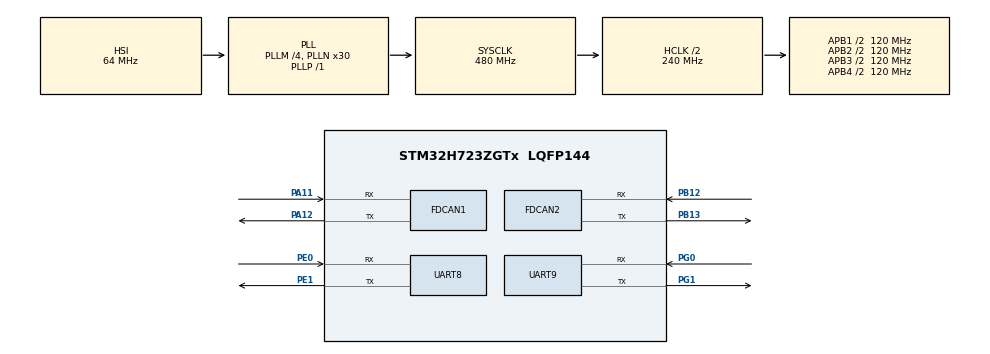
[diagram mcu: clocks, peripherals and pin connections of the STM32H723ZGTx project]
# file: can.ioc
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CORTEX_M7.default_mode_Activation=1
FDCAN1.CalculateBaudRateNominal=1000000
FDCAN1.CalculateTimeBitNominal=1000
FDCAN1.CalculateTimeQuantumNominal=20.833333333333332
FDCAN1.DataPrescaler=2
FDCAN1.DataSyncJumpWidth=15
FDCAN1.DataTimeSeg1=32
FDCAN1.DataTimeSeg2=15
FDCAN1.Mode=FDCAN_MODE_NORMAL
FDCAN1.NominalPrescaler=2
FDCAN1.NominalSyncJumpWidth=15
FDCAN1.NominalTimeSeg1=32
FDCAN1.NominalTimeSeg2=15
FDCAN1.RxFifo0ElmtsNbr=4
FDCAN1.StdFiltersNbr=1
FDCAN2.CalculateBaudRateNominal=1000000
FDCAN2.CalculateTimeBitNominal=1000
FDCAN2.CalculateTimeQuantumNominal=20.833333333333332
FDCAN2.DataPrescaler=2
FDCAN2.DataSyncJumpWidth=15
FDCAN2.DataTimeSeg1=32
FDCAN2.DataTimeSeg2=15
FDCAN2.MessageRAMOffset=1280
FDCAN2.Mode=FDCAN_MODE_NORMAL
FDCAN2.NominalPrescaler=2
FDCAN2.NominalSyncJumpWidth=15
FDCAN2.NominalTimeSeg1=32
FDCAN2.NominalTimeSeg2=15
FDCAN2.RxFifo0ElmtsNbr=4
FDCAN2.StdFiltersNbr=1
FDCAN2.TxFifoQueueElmtsNbr=3
FREERTOS.Queues01=uart_rx,128,uint8_t,0,Dynamic,NULL,NULL
FREERTOS.Tasks01=MOTOR,24,128,DJ_MOTOR,As weak,NULL,Dynamic,NULL,NULL;VOFATx,16,128,VOFA,As weak,NULL,Dynamic,NULL,NULL;VOFARx,8,128,UART,As weak,NULL,Dynamic,NULL,NULL
Mcu.Family=STM32H7
Mcu.Name=STM32H723ZGTx
Mcu.Package=LQFP144
NVIC.FDCAN1_IT0_IRQn=true\:5\:0\:false\:false\:true\:true\:true\:true\:true
NVIC.FDCAN2_IT0_IRQn=true\:5\:0\:false\:false\:true\:true\:true\:true\:true
NVIC.PriorityGroup=NVIC_PRIORITYGROUP_4
NVIC.TIM2_IRQn=true\:5\:0\:false\:false\:true\:true\:true\:true\:true
NVIC.TIM4_IRQn=true\:15\:0\:false\:false\:true\:false\:false\:true\:true
NVIC.TimeBase=TIM4_IRQn
NVIC.TimeBaseIP=TIM4
NVIC.UART8_IRQn=true\:5\:0\:false\:false\:true\:true\:true\:true\:true
PA11.Mode=FDCAN_Activate
PA11.Signal=FDCAN1_RX
PA12.Mode=FDCAN_Activate
PA12.Signal=FDCAN1_TX
PA13(JTMS/SWDIO).Signal=DEBUG_JTMS-SWDIO
PA14(JTCK/SWCLK).Signal=DEBUG_JTCK-SWCLK
PB12.Mode=FDCAN_Activate
PB12.Signal=FDCAN2_RX
PB13.Mode=FDCAN_Activate
PB13.Signal=FDCAN2_TX
PE0.Mode=Asynchronous
PE0.Signal=UART8_RX
PE1.Mode=Asynchronous
PE1.Signal=UART8_TX
PG0.Mode=Asynchronous
PG0.Signal=UART9_RX
PG1.Mode=Asynchronous
PG1.Signal=UART9_TX
PH0-OSC_IN.Mode=HSE-External-Oscillator
PH0-OSC_IN.Signal=RCC_OSC_IN
PH1-OSC_OUT.Mode=HSE-External-Oscillator
PH1-OSC_OUT.Signal=RCC_OSC_OUT
ProjectManager.HeapSize=0x200
ProjectManager.StackSize=0x400
ProjectManager.TargetToolchain=MDK-ARM V5.32
RCC.ADCFreq_Value=96000000
RCC.APB1Freq_Value=120000000
RCC.APB2Freq_Value=120000000
RCC.APB3Freq_Value=120000000
RCC.APB4Freq_Value=120000000
RCC.CortexFreq_Value=480000000
RCC.D1PPRE=RCC_APB3_DIV2
RCC.D2PPRE1=RCC_APB1_DIV2
RCC.D2PPRE2=RCC_APB2_DIV2
RCC.D3PPRE=RCC_APB4_DIV2
RCC.DIVM1=4
RCC.DIVM2=4
RCC.DIVN1=30
RCC.DIVN2=12
RCC.DIVP1=1
RCC.FDCANCLockSelection=RCC_FDCANCLKSOURCE_PLL2
RCC.HCLKFreq_Value=240000000
RCC.HPRE=RCC_HCLK_DIV2
RCC.PLL2FRACN=0
RCC.PLL3FRACN=0
RCC.PLLFRACN=0
RCC.SYSCLKFreq_VALUE=480000000
RCC.SYSCLKSource=RCC_SYSCLKSOURCE_PLLCLK
RCC.USBFreq_Value=240000000
TIM2.Period=999
TIM2.Prescaler=95
VP_FREERTOS_VS_CMSIS_V2.Mode=CMSIS_V2
VP_MEMORYMAP_VS_MEMORYMAP.Mode=CurAppReg
VP_SYS_VS_tim4.Mode=TIM4
VP_TIM2_VS_ClockSourceINT.Mode=Internal
board=custom

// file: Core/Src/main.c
/* USER CODE BEGIN Header */
/**
  ******************************************************************************
  * @file           : main.c
  * @brief          : Main program body
  ******************************************************************************
  * @attention
  *
  * Copyright (c) 2026 STMicroelectronics.
  * All rights reserved.
  *
  * This software is licensed under terms that can be found in the LICENSE file
  * in the root directory of this software component.
  * If no LICENSE file comes with this software, it is provided AS-IS.
  *
  ******************************************************************************
  */
/* USER CODE END Header */
#include "main.h"
#include "FreeRTOS.h"
#include "cmsis_os2.h"
#include "fdcan.h"
#include "tim.h"
#include "usart.h"
#include "gpio.h"

/* USER CODE BEGIN Includes */
#include <stdio.h>
#include "fdcan_bsp.h"
#include "c610.h"
/* USER CODE END Includes */

/* USER CODE BEGIN PV */

//FDCAN_TxHeaderTypeDef txHeader = {
//    .Identifier = 0x333,
//    .IdType = FDCAN_STANDARD_ID,
//    .TxFrameType = FDCAN_DATA_FRAME,
//    .DataLength = FDCAN_DLC_BYTES_4,
//    .ErrorStateIndicator = FDCAN_ESI_ACTIVE,
//    .BitRateSwitch = FDCAN_BRS_OFF,
//    .FDFormat = FDCAN_CLASSIC_CAN,
//    .TxEventFifoControl = FDCAN_NO_TX_EVENTS,
//    .MessageMarker = 0
//};
//uint8_t txData[4] = {0x00, 0x11, 0x22, 0x33};
//uint8_t rxData[8];
//FDCAN_RxHeaderTypeDef rxHeader;
//volatile uint8_t rxFlag = 0;   // 收到数据的标志位

uint8_t rx_byte;
  extern osMessageQueueId_t uart_rxHandle;

/* USER CODE END PV */

void SystemClock_Config(void);
void PeriphCommonClock_Config(void);
static void MPU_Config(void);
void MX_FREERTOS_Init(void);
/* USER CODE BEGIN PFP */
uint8_t rx_byte;
  extern osMessageQueueId_t uart_rxHandle;
/* USER CODE END PFP */

int main(void)
{

  /* MPU Configuration--------------------------------------------------------*/
  MPU_Config();

  /* MCU Configuration--------------------------------------------------------*/

  /* Reset of all peripherals, Initializes the Flash interface and the Systick. */
  HAL_Init();

  /* Configure the system clock */
  SystemClock_Config();

  /* Configure the peripherals common clocks */
  PeriphCommonClock_Config();

  /* Initialize all configured peripherals */
  MX_GPIO_Init();
  MX_FDCAN1_Init();
  MX_FDCAN2_Init();
  MX_UART9_Init();
  MX_UART8_Init();
  MX_TIM2_Init();
  /* USER CODE BEGIN 2 */
  if (M2006_Init() != HAL_OK) {
    printf("CAN init fail\r\n");
    Error_Handler();
  }
//  uint32_t print_cnt = 0;

  HAL_UART_Receive_IT(&huart8,&rx_byte,1);

  /* USER CODE END 2 */

  /* Init scheduler */
  osKernelInitialize();  /* Call init function for freertos objects (in cmsis_os2.c) */
  MX_FREERTOS_Init();

  /* Start scheduler */
  osKernelStart();

  /* We should never get here as control is now taken by the scheduler */

  /* Infinite loop */
  while (1)
  {

  }
}

void SystemClock_Config(void)
{
  RCC_OscInitTypeDef RCC_OscInitStruct = {0};
  RCC_ClkInitTypeDef RCC_ClkInitStruct = {0};

  /** Supply configuration update enable
  */
  HAL_PWREx_ConfigSupply(PWR_LDO_SUPPLY);

  /** Configure the main internal regulator output voltage
  */
  __HAL_PWR_VOLTAGESCALING_CONFIG(PWR_REGULATOR_VOLTAGE_SCALE0);

  while(!__HAL_PWR_GET_FLAG(PWR_FLAG_VOSRDY)) {}

  /** Initializes the RCC Oscillators according to the specified parameters
  * in the RCC_OscInitTypeDef structure.
  */
  RCC_OscInitStruct.OscillatorType = RCC_OSCILLATORTYPE_HSI;
  RCC_OscInitStruct.HSIState = RCC_HSI_DIV1;
  RCC_OscInitStruct.HSICalibrationValue = 64;
  RCC_OscInitStruct.PLL.PLLState = RCC_PLL_ON;
  RCC_OscInitStruct.PLL.PLLSource = RCC_PLLSOURCE_HSI;
  RCC_OscInitStruct.PLL.PLLM = 4;
  RCC_OscInitStruct.PLL.PLLN = 30;
  RCC_OscInitStruct.PLL.PLLP = 1;
  RCC_OscInitStruct.PLL.PLLQ = 2;
  RCC_OscInitStruct.PLL.PLLR = 2;
  RCC_OscInitStruct.PLL.PLLRGE = RCC_PLL1VCIRANGE_3;
  RCC_OscInitStruct.PLL.PLLVCOSEL = RCC_PLL1VCOWIDE;
  RCC_OscInitStruct.PLL.PLLFRACN = 0;
  if (HAL_RCC_OscConfig(&RCC_OscInitStruct) != HAL_OK)
  {
    Error_Handler();
  }

  /** Initializes the CPU, AHB and APB buses clocks
  */
  RCC_ClkInitStruct.ClockType = RCC_CLOCKTYPE_HCLK|RCC_CLOCKTYPE_SYSCLK
                              |RCC_CLOCKTYPE_PCLK1|RCC_CLOCKTYPE_PCLK2
                              |RCC_CLOCKTYPE_D3PCLK1|RCC_CLOCKTYPE_D1PCLK1;
  RCC_ClkInitStruct.SYSCLKSource = RCC_SYSCLKSOURCE_PLLCLK;
  RCC_ClkInitStruct.SYSCLKDivider = RCC_SYSCLK_DIV1;
  RCC_ClkInitStruct.AHBCLKDivider = RCC_HCLK_DIV2;
  RCC_ClkInitStruct.APB3CLKDivider = RCC_APB3_DIV2;
  RCC_ClkInitStruct.APB1CLKDivider = RCC_APB1_DIV2;
  RCC_ClkInitStruct.APB2CLKDivider = RCC_APB2_DIV2;
  RCC_ClkInitStruct.APB4CLKDivider = RCC_APB4_DIV2;

  if (HAL_RCC_ClockConfig(&RCC_ClkInitStruct, FLASH_LATENCY_3) != HAL_OK)
  {
    Error_Handler();
  }
}

void PeriphCommonClock_Config(void)
{
  RCC_PeriphCLKInitTypeDef PeriphClkInitStruct = {0};

  /** Initializes the peripherals clock
  */
  PeriphClkInitStruct.PeriphClockSelection = RCC_PERIPHCLK_FDCAN;
  PeriphClkInitStruct.PLL2.PLL2M = 4;
  PeriphClkInitStruct.PLL2.PLL2N = 12;
  PeriphClkInitStruct.PLL2.PLL2P = 2;
  PeriphClkInitStruct.PLL2.PLL2Q = 2;
  PeriphClkInitStruct.PLL2.PLL2R = 2;
  PeriphClkInitStruct.PLL2.PLL2RGE = RCC_PLL2VCIRANGE_3;
  PeriphClkInitStruct.PLL2.PLL2VCOSEL = RCC_PLL2VCOWIDE;
  PeriphClkInitStruct.PLL2.PLL2FRACN = 0;
  PeriphClkInitStruct.FdcanClockSelection = RCC_FDCANCLKSOURCE_PLL2;
  if (HAL_RCCEx_PeriphCLKConfig(&PeriphClkInitStruct) != HAL_OK)
  {
    Error_Handler();
  }
}

/* USER CODE BEGIN 4 */
int fputc(int ch, FILE *f)
{
    HAL_UART_Transmit(&huart8, (uint8_t *)&ch, 1, HAL_MAX_DELAY);
    return ch;
}
void HAL_UART_RxCpltCallback(UART_HandleTypeDef *huart)
{
	if(huart->Instance == UART8){
		osMessageQueuePut(uart_rxHandle,&rx_byte,0U,0U);
		HAL_UART_Receive_IT(&huart8,&rx_byte,1);
	}
}

/* USER CODE END 4 */

 /* MPU Configuration */

void MPU_Config(void)
{
  MPU_Region_InitTypeDef MPU_InitStruct = {0};

  /* Disables the MPU */
  HAL_MPU_Disable();

  /** Initializes and configures the Region and the memory to be protected
  */
  MPU_InitStruct.Enable = MPU_REGION_ENABLE;
  MPU_InitStruct.Number = MPU_REGION_NUMBER0;
  MPU_InitStruct.BaseAddress = 0x0;
  MPU_InitStruct.Size = MPU_REGION_SIZE_4GB;
  MPU_InitStruct.SubRegionDisable = 0x87;
  MPU_InitStruct.TypeExtField = MPU_TEX_LEVEL0;
  MPU_InitStruct.AccessPermission = MPU_REGION_NO_ACCESS;
  MPU_InitStruct.DisableExec = MPU_INSTRUCTION_ACCESS_DISABLE;
  MPU_InitStruct.IsShareable = MPU_ACCESS_SHAREABLE;
  MPU_InitStruct.IsCacheable = MPU_ACCESS_NOT_CACHEABLE;
  MPU_InitStruct.IsBufferable = MPU_ACCESS_NOT_BUFFERABLE;

  HAL_MPU_ConfigRegion(&MPU_InitStruct);
  /* Enables the MPU */
  HAL_MPU_Enable(MPU_PRIVILEGED_DEFAULT);

}

void HAL_TIM_PeriodElapsedCallback(TIM_HandleTypeDef *htim)
{
  if (htim->Instance == TIM4)
  {
    HAL_IncTick();
  }
}

void Error_Handler(void)
{
  __disable_irq();
  while (1)
  {
  }
}

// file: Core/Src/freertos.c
/* USER CODE BEGIN Header */
/**
  ******************************************************************************
  * File Name          : freertos.c
  * Description        : Code for freertos applications
  ******************************************************************************
  * @attention
  *
  * Copyright (c) 2026 STMicroelectronics.
  * All rights reserved.
  *
  * This software is licensed under terms that can be found in the LICENSE file
  * in the root directory of this software component.
  * If no LICENSE file comes with this software, it is provided AS-IS.
  *
  ******************************************************************************
  */
/* USER CODE END Header */

#include "FreeRTOS.h"
#include "task.h"
#include "main.h"
#include "FreeRTOS.h"
#include "cmsis_os2.h"

/* Definitions for MOTOR */
osThreadId_t MOTORHandle;
const osThreadAttr_t MOTOR_attributes = {
  .name = "MOTOR",
  .stack_size = 128 * 4,
  .priority = (osPriority_t) osPriorityNormal,
};
/* Definitions for VOFATx */
osThreadId_t VOFATxHandle;
const osThreadAttr_t VOFATx_attributes = {
  .name = "VOFATx",
  .stack_size = 128 * 4,
  .priority = (osPriority_t) osPriorityBelowNormal,
};
/* Definitions for VOFARx */
osThreadId_t VOFARxHandle;
const osThreadAttr_t VOFARx_attributes = {
  .name = "VOFARx",
  .stack_size = 128 * 4,
  .priority = (osPriority_t) osPriorityLow,
};
/* Definitions for uart_rx */
osMessageQueueId_t uart_rxHandle;
const osMessageQueueAttr_t uart_rx_attributes = {
  .name = "uart_rx"
};

void DJ_MOTOR(void *argument);
void VOFA(void *argument);
void UART(void *argument);

void MX_FREERTOS_Init(void); /* (MISRA C 2004 rule 8.1) */

void MX_FREERTOS_Init(void) {

  /* Create the queue(s) */
  /* creation of uart_rx */
  uart_rxHandle = osMessageQueueNew (128, sizeof(uint8_t), &uart_rx_attributes);

  /* Create the thread(s) */
  /* creation of MOTOR */
  MOTORHandle = osThreadNew(DJ_MOTOR, NULL, &MOTOR_attributes);

  /* creation of VOFATx */
  VOFATxHandle = osThreadNew(VOFA, NULL, &VOFATx_attributes);

  /* creation of VOFARx */
  VOFARxHandle = osThreadNew(UART, NULL, &VOFARx_attributes);

}

__weak void DJ_MOTOR(void *argument)
{
  for(;;)
  {
    osDelay(1);
  }
}

__weak void VOFA(void *argument)
{
  for(;;)
  {
    osDelay(1);
  }
}

__weak void UART(void *argument)
{
  for(;;)
  {
    osDelay(1);
  }
}
